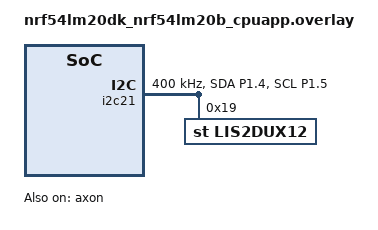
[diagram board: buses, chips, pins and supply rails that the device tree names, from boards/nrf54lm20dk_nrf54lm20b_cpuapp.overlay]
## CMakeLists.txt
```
#
# Copyright (c) 2026 Nordic Semiconductor ASA
#
# SPDX-License-Identifier: LicenseRef-Nordic-5-Clause
#

cmake_minimum_required(VERSION 3.20.0)

find_package(Zephyr REQUIRED HINTS $ENV{ZEPHYR_BASE})
project(activity_detection)

target_sources(app PRIVATE
    src/main.c
)

zephyr_include_directories(src/generated)
```

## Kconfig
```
#
# Copyright (c) 2026 Nordic Semiconductor
#
# SPDX-License-Identifier: LicenseRef-Nordic-5-Clause
#

source "Kconfig.zephyr"

menu "Activity Detection"

config ACTIVITY_INFERENCE_INTERVAL_MS
	int "Interval between inference runs in milliseconds"
	default 500
	help
	  How often to collect a window of accelerometer samples and run
	  inference.  At 100 Hz ODR with a 50-sample window the minimum
	  is 500 ms.

config ACTIVITY_PRINT_RAW_ACCEL
	bool "Print raw accelerometer values"
	default n
	help
	  Print each accelerometer sample to the console for debugging.

endmenu
```

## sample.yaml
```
sample:
  description: Activity detection using LIS2DUX12 accelerometer and Axon NPU
  name: nRF Edge AI Activity Detection
tests:
  sample.activity_detection:
    harness: console
    harness_config:
      type: multi_line
      ordered: true
      regex:
        - "Activity Detection: initialized"
        - "Activity Detection: running"
    sysbuild: true
    platform_allow:
      - nrf54lm20dk/nrf54lm20b/cpuapp
    integration_platforms:
      - nrf54lm20dk/nrf54lm20b/cpuapp
```

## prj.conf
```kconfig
#
# Copyright (c) 2026 Nordic Semiconductor ASA
#
# SPDX-License-Identifier: LicenseRef-Nordic-5-Clause
#

CONFIG_NCS_SAMPLES_DEFAULTS=y

# Axon NPU
CONFIG_NRF_AXON=y

# Interlayer buffer size — must be >= model requirement (check generated header)
CONFIG_NRF_AXON_INTERLAYER_BUFFER_SIZE=125000

# PSUM buffer (0 = disabled for dense-only models)
CONFIG_NRF_AXON_PSUM_BUFFER_SIZE=0

# LIS2DUX12 accelerometer via I2C
CONFIG_SENSOR=y
CONFIG_I2C=y
CONFIG_LIS2DUX12=y

# Logging
CONFIG_LOG=y
CONFIG_LOG_DEFAULT_LEVEL=2

# Floating-point printf
CONFIG_PICOLIBC_IO_FLOAT=y

# Main stack
CONFIG_MAIN_STACK_SIZE=4096

# Application options
CONFIG_ACTIVITY_INFERENCE_INTERVAL_MS=500
```

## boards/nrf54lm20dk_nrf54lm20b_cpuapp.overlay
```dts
/*
 * Copyright (c) 2026 Nordic Semiconductor ASA
 *
 * SPDX-License-Identifier: LicenseRef-Nordic-5-Clause
 *
 * nrf54lm20dk nrf54lm20b cpuapp overlay:
 *   - I2C21 on P1.04 (SDA) / P1.05 (SCL) at 400 kHz
 *   - LIS2DUX12 accelerometer at address 0x19
 *   - Axon NPU enabled
 */

&pinctrl {
	i2c21_activity: i2c21_activity {
		group1 {
			psels = <NRF_PSEL(TWIM_SDA, 1, 4)>,
				<NRF_PSEL(TWIM_SCL, 1, 5)>;
			bias-pull-up;
		};
	};

	i2c21_activity_sleep: i2c21_activity_sleep {
		group1 {
			psels = <NRF_PSEL(TWIM_SDA, 1, 4)>,
				<NRF_PSEL(TWIM_SCL, 1, 5)>;
			low-power-enable;
		};
	};
};

&i2c21 {
	compatible = "nordic,nrf-twim";
	status = "okay";
	pinctrl-0 = <&i2c21_activity>;
	pinctrl-1 = <&i2c21_activity_sleep>;
	pinctrl-names = "default", "sleep";
	clock-frequency = <I2C_BITRATE_FAST>;

	lis2dux12: lis2dux12@19 {
		compatible = "st,lis2dux12";
		reg = <0x19>;
		odr = <LIS2DUX12_DT_ODR_100Hz>;
		range = <LIS2DUX12_DT_FS_16G>;
	};
};

&axon {
	status = "okay";
};
```

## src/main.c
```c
/*
 * Copyright (c) 2026 Nordic Semiconductor ASA
 *
 * SPDX-License-Identifier: LicenseRef-Nordic-5-Clause
 *
 * Activity Detection application
 *
 * Reads triaxial accelerometer data from a LIS2DUX12 on I2C at 100 Hz,
 * collects a 50-sample window (x, y, z interleaved), quantizes to int8,
 * and runs inference on the Axon NPU.  Prints the detected activity.
 */

#include <stddef.h>
#include <stdint.h>
#include <stdio.h>
#include <string.h>

#include <zephyr/device.h>
#include <zephyr/devicetree.h>
#include <zephyr/drivers/sensor.h>
#include <zephyr/kernel.h>
#include <zephyr/logging/log.h>

#include <axon/nrf_axon_platform.h>
#include <drivers/axon/nrf_axon_driver.h>
#include <drivers/axon/nrf_axon_nn_infer.h>

#include "nrf_axon_model_activity_detection.h"

LOG_MODULE_REGISTER(activity, LOG_LEVEL_INF);

/* ── Activity labels (must match training order) ──────────────────── */

enum activity_class {
	SITTING    = 0,
	STANDING   = 1,
	LYING_DOWN = 2,
	WALKING    = 3,
	RUNNING    = 4,
	CYCLING    = 5,
	WORKOUT    = 6,
};

static const char *const ACTIVITY_LABELS[] = {
	[SITTING]     = "Sitting",
	[STANDING]    = "Standing",
	[LYING_DOWN]  = "Lying down",
	[WALKING]     = "Walking",
	[RUNNING]     = "Running",
	[CYCLING]     = "Cycling",
	[WORKOUT]     = "Workout",
};

#define NUM_ACTIVITIES (sizeof(ACTIVITY_LABELS) / sizeof(ACTIVITY_LABELS[0]))

/* ── Model constants ──────────────────────────────────────────────── */

#define WINDOW_SIZE  50
#define NUM_AXES     3
#define NUM_FEATURES (WINDOW_SIZE * NUM_AXES)
#define SENSOR_ODR_HZ 100
#define SAMPLE_INTERVAL_MS (1000 / SENSOR_ODR_HZ)

/* ── LIS2DUX12 sensor ─────────────────────────────────────────────── */

static const struct device *const accel_dev =
	DEVICE_DT_GET_ONE(st_lis2dux12);

/* ── Quantization helpers ─────────────────────────────────────────── */

/*
 * Quantization:  q8 = (float_val / scale) + zp
 * Dequantization: float_val = (q8 - zp) * scale
 *
 * These parameters come from the TFLite model and are embedded in
 * the compiled model header's input/output descriptors.
 */

static void quantize_window(const float *src, int8_t *dst, size_t len,
			    const nrf_axon_nn_compiled_model_input_s *input)
{
	const uint32_t q_mult = input->quant_mult;
	const uint8_t q_round = input->quant_round;
	const int8_t q_zp = input->quant_zp;

	for (size_t i = 0; i < len; i++) {
		dst[i] = (int8_t)((uint32_t)(src[i] * q_mult) >> q_round) + q_zp;
	}
}

static void dequantize_output(const int8_t *src, float *dst, size_t len,
			      const nrf_axon_nn_compiled_model_s *model)
{
	const uint32_t deq_mult = model->output_dequant_mult;
	const uint8_t deq_round = model->output_dequant_round;
	const int8_t deq_zp = model->output_dequant_zp;

	for (size_t i = 0; i < len; i++) {
		dst[i] = (src[i] - deq_zp) * ((float)deq_mult / (1 << deq_round));
	}
}

/* ── Accelerometer sample collection ──────────────────────────────── */

/*
 * Read one sample from the LIS2DUX12 and convert to m/s^2.
 * Returns 0 on success.
 */
static int read_accel_sample(float xyz[3])
{
	int ret;

	ret = sensor_sample_fetch(accel_dev);
	if (ret < 0) {
		return ret;
	}

	struct sensor_value val;

	ret = sensor_channel_get(accel_dev, SENSOR_CHAN_ACCEL_X, &val);
	if (ret < 0) {
		return ret;
	}
	xyz[0] = (float)sensor_value_to_double(&val);

	ret = sensor_channel_get(accel_dev, SENSOR_CHAN_ACCEL_Y, &val);
	if (ret < 0) {
		return ret;
	}
	xyz[1] = (float)sensor_value_to_double(&val);

	ret = sensor_channel_get(accel_dev, SENSOR_CHAN_ACCEL_Z, &val);
	if (ret < 0) {
		return ret;
	}
	xyz[2] = (float)sensor_value_to_double(&val);

	return 0;
}

/*
 * Collect WINDOW_SIZE samples at SENSOR_ODR_HZ, interleaving x, y, z
 * into a flat array: [x0, y0, z0, x1, y1, z1, ..., xN, yN, zN]
 *
 * This matches the flattening used during training (each window row
 * was [x, y, z] flattened to row-major order).
 */
static int collect_window(float *window)
{
	for (int s = 0; s < WINDOW_SIZE; s++) {
		float xyz[3];
		int ret;

		ret = read_accel_sample(xyz);
		if (ret < 0) {
			LOG_ERR("Sensor read failed: %d", ret);
			return ret;
		}

		window[s * NUM_AXES + 0] = xyz[0];
		window[s * NUM_AXES + 1] = xyz[1];
		window[s * NUM_AXES + 2] = xyz[2];

		if (IS_ENABLED(CONFIG_ACTIVITY_PRINT_RAW_ACCEL)) {
			LOG_INF("[%d] a=%.2f %.2f %.2f", s,
				(double)xyz[0], (double)xyz[1], (double)xyz[2]);
		}

		/* Wait for next sample period */
		k_msleep(SAMPLE_INTERVAL_MS);
	}

	return 0;
}

/* ── Main ──────────────────────────────────────────────────────────── */

int main(void)
{
	int ret;
	nrf_axon_result_e result;

	/* ── Init LIS2DUX12 ────────────────────────────────────────── */
	if (!device_is_ready(accel_dev)) {
		LOG_ERR("LIS2DUX12 not ready");
		return -1;
	}
	LOG_INF("LIS2DUX12 initialized");

	/* ── Init Axon NPU ─────────────────────────────────────────── */
	result = nrf_axon_platform_init();
	if (result != NRF_AXON_RESULT_SUCCESS) {
		LOG_ERR("Axon platform init failed: %d", result);
		return -1;
	}
	LOG_INF("Axon NPU initialized");

	/* ── Validate compiled model ───────────────────────────────── */
	result = nrf_axon_nn_model_validate(&model_ACTIVITY_MODEL);
	if (result != NRF_AXON_RESULT_SUCCESS) {
		LOG_ERR("Model validation failed: %d", result);
		LOG_ERR("Check that the Axon-compiled model header is correct "
			"and CONFIG_NRF_AXON_INTERLAYER_BUFFER_SIZE is large enough.");
		return -1;
	}

	/* Init persistent vars (harmless for non-streaming models) */
	ret = nrf_axon_nn_model_init_vars(&model_ACTIVITY_MODEL);
	if (ret < 0) {
		LOG_ERR("Model persistent vars init failed: %d", ret);
		return -1;
	}

	const nrf_axon_nn_compiled_model_input_s *model_input =
		&model_ACTIVITY_MODEL.inputs[model_ACTIVITY_MODEL.external_input_ndx];

	LOG_INF("Model \"%s\" loaded", model_ACTIVITY_MODEL.model_name);
	LOG_INF("  input:  %dx%dx%d  byte_width=%d",
		model_input->dimensions.height,
		model_input->dimensions.width,
		model_input->dimensions.channel_cnt,
		model_input->dimensions.byte_width);
	LOG_INF("  output: %dx%dx%d  byte_width=%d",
		model_ACTIVITY_MODEL.output_dimensions.height,
		model_ACTIVITY_MODEL.output_dimensions.width,
		model_ACTIVITY_MODEL.output_dimensions.channel_cnt,
		model_ACTIVITY_MODEL.output_dimensions.byte_width);
	LOG_INF("  classes: %zu", NUM_ACTIVITIES);

	/* ── Allocate buffers ──────────────────────────────────────── */
	/*
	 * Input window in float (from sensor), quantized int8 buffer
	 * for Axon, and output buffer sized for packed output.
	 */
	static float window_float[NUM_FEATURES];
	static int8_t input_q8[NUM_FEATURES];

	/* Packed output: output dimensions rounded up to 4-byte boundary */
	const uint16_t out_bytes = model_ACTIVITY_MODEL.output_dimensions.width *
				  model_ACTIVITY_MODEL.output_dimensions.channel_cnt *
				  model_ACTIVITY_MODEL.output_dimensions.height *
				  model_ACTIVITY_MODEL.output_dimensions.byte_width;
	static int8_t output_q8[64];  /* generous for 7-class output */

	LOG_INF("Activity Detection: initialized");
	LOG_INF("Activity Detection: running");

	/* ── Main inference loop ───────────────────────────────────── */
	while (1) {
		/* 1. Collect a full window of accelerometer data */
		ret = collect_window(window_float);
		if (ret < 0) {
			LOG_WRN("Skipping window due to sensor error");
			k_msleep(100);
			continue;
		}

		/* 2. Quantize float -> int8 using model's input parameters */
		quantize_window(window_float, input_q8, NUM_FEATURES, model_input);

		/* 3. Run synchronous inference on Axon NPU */
		result = nrf_axon_nn_model_infer_sync(&model_ACTIVITY_MODEL,
						      input_q8, output_q8);
		if (result != NRF_AXON_RESULT_SUCCESS) {
			LOG_ERR("Inference failed: %d", result);
			continue;
		}

		/* 4. Get classification result */
		int32_t score;
		int16_t class_idx = nrf_axon_nn_get_classification(
			&model_ACTIVITY_MODEL, output_q8, NULL, &score);

		if (class_idx >= 0 && class_idx < (int16_t)NUM_ACTIVITIES) {
			/*
			 * Dequantize all outputs to get per-class confidence.
			 * For a classification model, the output logits can be
			 * soft-maxed externally if probability estimates are
			 * needed.  Here we report the argmax and its raw score.
			 */
			float logits[NUM_ACTIVITIES];

			dequantize_output(output_q8, logits, NUM_ACTIVITIES,
					  &model_ACTIVITY_MODEL);

			LOG_INF(">> %s  (class %d, score %d)",
				ACTIVITY_LABELS[class_idx], class_idx, score);

			if (IS_ENABLED(CONFIG_LOG)) {
				/* Log all class logits for debugging */
				char logbuf[128];
				int pos = 0;

				for (int i = 0; i < (int)NUM_ACTIVITIES && pos < 100; i++) {
					pos += snprintf(logbuf + pos,
							sizeof(logbuf) - pos,
							"%s%.1f ",
							ACTIVITY_LABELS[i], (double)logits[i]);
				}
				LOG_DBG("  logits: %s", logbuf);
			}
		} else {
			LOG_WRN("Classification returned invalid index: %d", class_idx);
		}

		/*
		 * Optional extra sleep between windows to throttle inference
		 * rate.  At 100 Hz ODR + 50-sample window the collection
		 * already takes ~500 ms, so this is only needed if you want
		 * a gap between windows.
		 */
		if (CONFIG_ACTIVITY_INFERENCE_INTERVAL_MS > (WINDOW_SIZE * SAMPLE_INTERVAL_MS)) {
			k_msleep(CONFIG_ACTIVITY_INFERENCE_INTERVAL_MS -
				 WINDOW_SIZE * SAMPLE_INTERVAL_MS);
		}
	}

	return 0;
}
```
